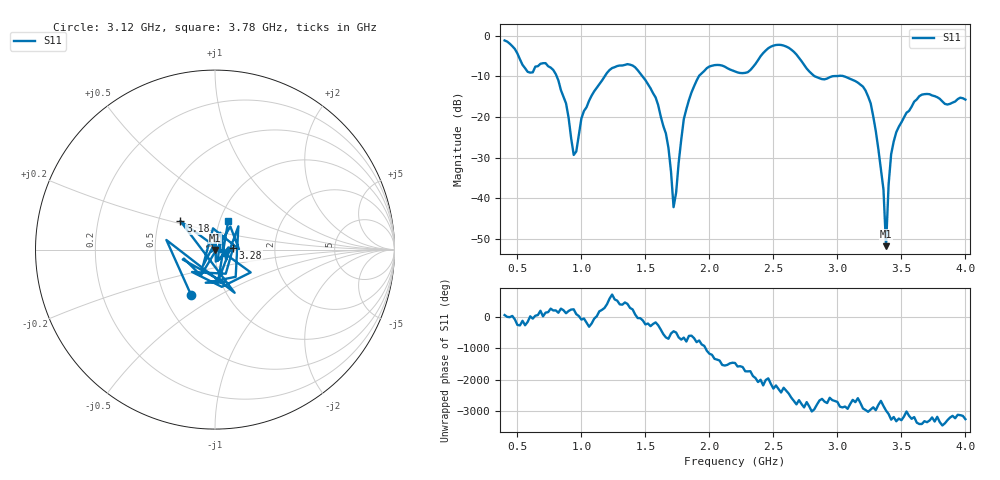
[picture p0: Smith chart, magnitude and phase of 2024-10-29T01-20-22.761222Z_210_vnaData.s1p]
!Created with skrf (http://scikit-rf.org).
# Hz S RI R 50.0
!freq ReS11 ImS11
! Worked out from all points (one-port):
!   181 points, 400 MHz to 4 GHz, reference 50 ohm
!   lowest |S11| = -51.8 dB at 3.38 GHz (marker M1), VSWR 1.01, Z = 50 - j0.256 ohm
!   |S11| at or under -10 dB: 806.9 MHz to 1.183 GHz (376.1 MHz wide, 37.8 % of centre); 1.478 GHz to 1.918 GHz (439.2 MHz wide, 25.9 % of centre); 3.051 GHz to end of sweep (the widest 3 of 4)
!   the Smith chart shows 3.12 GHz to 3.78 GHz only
!   S11 on the Smith chart (normalised r, x): 3.12 GHz: 0.68, -0.38; 3.18 GHz: 0.65, +0.22; 3.28 GHz: 1.23, +0.02; 3.78 GHz: 1.10, +0.36
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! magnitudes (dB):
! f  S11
! 400 MHz  -1.2
! 580 MHz  -8.9
! 780 MHz  -8.4
! 860 MHz  -15.0
! 940 MHz  -29.3
! 1.08 GHz  -14.7
! 1.3 GHz  -7.4
! 1.58 GHz  -15.2
! 1.68 GHz  -27.6
! 1.72 GHz  -42.2
! 1.76 GHz  -31.2
! 1.8 GHz  -20.5
! 1.92 GHz  -9.9
! 2.2 GHz  -8.8
! 2.5 GHz  -2.5
! 2.66 GHz  -4.0
! 2.82 GHz  -10.0
! 3.1 GHz  -10.7
! 3.12 GHz  -10.9
! 3.18 GHz  -12.0
! 3.28 GHz  -19.8
! 3.36 GHz  -37.8
! 3.38 GHz  -51.8
! 3.4 GHz  -36.7
! 3.42 GHz  -29.1
! 3.56 GHz  -18.5
! 3.78 GHz  -15.1
! 4 GHz  -15.7
